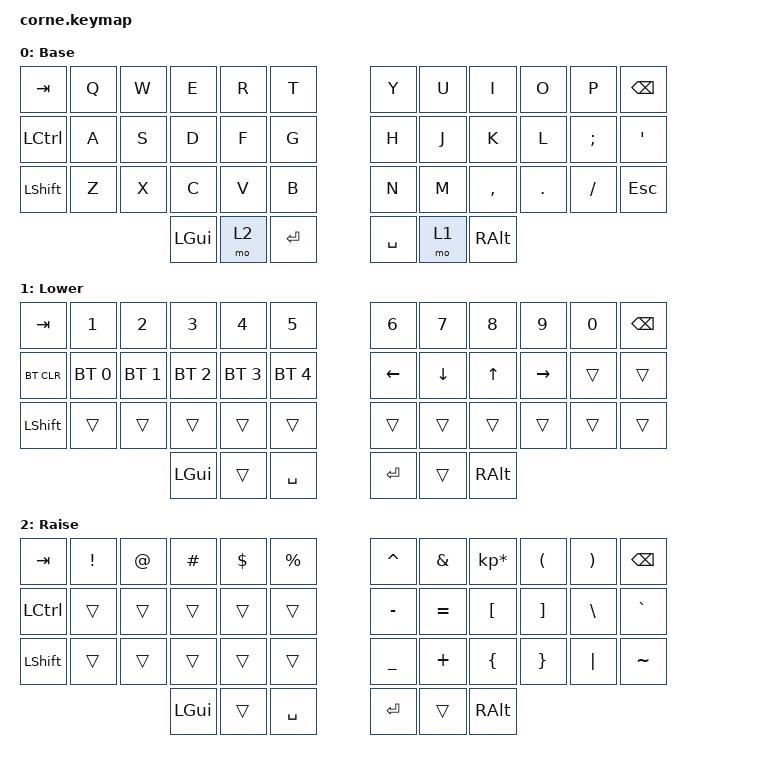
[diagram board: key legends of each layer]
/*
 * Copyright (c) 2020 The ZMK Contributors
 *
 * SPDX-License-Identifier: MIT
 */

#include <behaviors.dtsi>
#include <dt-bindings/zmk/keys.h>
#include <dt-bindings/zmk/bt.h>

/ {
        combos {
                compatible = "zmk,combos";
                combo_bspc {
                        key-positions = <20 21>; // K L
                        bindings = <&kp BACKSPACE>;
                };
                combo_word {
                        timeout-ms = <50>;
                        key-positions = <19 20 21>;     // JKL
                        bindings = <&kp LEFT_ALT(BACKSPACE)>;      // Ctrl + Backspace = delete word
                };
                combo_line {
                        timeout-ms = <50>;
                        key-positions = <19 20 21 22>;  // JKL;
                        bindings = <&kp LG(BACKSPACE)>;      // Cmd/Win + Backspace = delete line
                };
                combo_shift_enter {
                        timeout-ms = <50>;
                        key-positions = <21 22>;        // L ;
                        bindings = <&kp LS(RET)>;       // Shift + Enter
                };
        };

        keymap {
                compatible = "zmk,keymap";

// -----------------------------------------------------------------------------------------
// |  0   |  1  |  2  |  3  |  4  |  5  |   |  6  |  7   |  8  |  9  |  10 |  11 |
// | 12   |  13 | 14  | 15  | 16  | 17  |   | 18  | 19   | 20  | 21  | 22  | 23  |
// | 24   |  25 | 26  | 27  | 28  | 29  |   | 30  | 31   | 32  | 33  | 34  | 35  |
//                    | GUI | LWR | SPC |   | ENT | RSE  | ALT |
// -----------------------------------------------------------------------------------------
// |  TAB |  Q  |  W  |  E  |  R  |  T  |   |  Y  |  U   |  I  |  O  |  P  | BKSP |
// | CTRL |  A  |  S  |  D  |  F  |  G  |   |  H  |  J   |  K  |  L  |  ;  |  '   |
// | SHFT |  Z  |  X  |  C  |  V  |  B  |   |  N  |  M   |  ,  |  .  |  /  | ESC  |
//                    | GUI | LWR | SPC |   | ENT | RSE  | ALT |
                default_layer {
                        display-name = "Base";
                        bindings = <
   &kp TAB   &kp Q &kp W &kp E &kp R &kp T   &kp Y &kp U  &kp I     &kp O   &kp P    &kp BSPC
   &kp LCTRL &kp A &kp S &kp D &kp F &kp G   &kp H &kp J  &kp K     &kp L   &kp SEMI &kp SQT
   &kp LSHFT &kp Z &kp X &kp C &kp V &kp B   &kp N &kp M  &kp COMMA &kp DOT &kp FSLH &kp ESC
                  &kp LGUI &mo 2 &kp RET   &kp SPACE &mo 1 &kp RALT
                        >;
                };
                lower_layer {
// -----------------------------------------------------------------------------------------
// |  TAB |  1  |  2  |  3  |  4  |  5  |   |  6  |  7  |  8  |  9  |  0  | BKSP |
// | BTCLR| BT1 | BT2 | BT3 | BT4 | BT5 |   | LFT | DWN |  UP | RGT |     |      |
// | SHFT |     |     |     |     |     |   |     |     |     |     |     |      |
//                    | GUI |     | SPC |   | ENT |     | ALT |
                        display-name = "Lower";
                        bindings = <
   &kp TAB    &kp N1       &kp N2       &kp N3       &kp N4       &kp N5         &kp N6   &kp N7   &kp N8 &kp N9    &kp N0 &kp BSPC
   &bt BT_CLR &bt BT_SEL 0 &bt BT_SEL 1 &bt BT_SEL 2 &bt BT_SEL 3 &bt BT_SEL 4   &kp LEFT &kp DOWN &kp UP &kp RIGHT &trans &trans
   &kp LSHFT  &trans       &trans       &trans       &trans       &trans         &trans   &trans   &trans &trans    &trans &trans
                          	        &kp LGUI     &trans       &kp SPACE      &kp RET  &trans   &kp RALT
                        >;
                };

                raise_layer {
// -----------------------------------------------------------------------------------------
// |  TAB |  !  |  @  |  #  |  $  |  %  |   |  ^  |  &  |  *  |  (  |  )  | BKSP |
// | CTRL |     |     |     |     |     |   |  -  |  =  |  [  |  ]  |  \  |  `   |
// | SHFT |     |     |     |     |     |   |  _  |  +  |  {  |  }  | "|" |  ~   |
//                    | GUI |     | SPC |   | ENT |     | ALT |
                        display-name = "Raise";
                        bindings = <
   &kp  TAB  &kp EXCL &kp AT &kp HASH &kp DLLR &kp PRCNT   &kp CARET &kp AMPS  &kp KP_MULTIPLY &kp LPAR &kp RPAR &kp BSPC
   &kp LCTRL &trans   &trans &trans   &trans   &trans      &kp MINUS &kp EQUAL &kp LBKT        &kp RBKT &kp BSLH &kp GRAVE
   &kp LSHFT &trans   &trans &trans   &trans   &trans      &kp UNDER &kp PLUS  &kp LBRC        &kp RBRC &kp PIPE &kp TILDE
                    	     &kp LGUI &trans   &kp SPACE   &kp RET   &trans    &kp RALT
                        >;
                };

                extra_1 {
                        status = "reserved";
                };

                extra_2 {
                        status = "reserved";
                };

                extra_3 {
                        status = "reserved";
                };
        };
};
